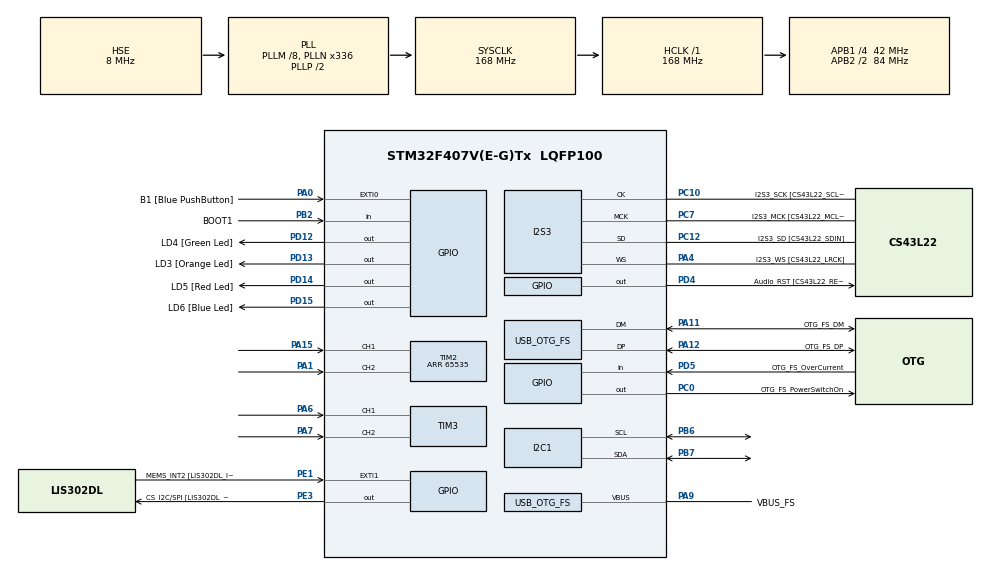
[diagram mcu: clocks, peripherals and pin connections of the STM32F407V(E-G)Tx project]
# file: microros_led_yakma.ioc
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FREERTOS.Tasks01=defaultTask,24,3000,StartDefaultTask,Default,NULL,Dynamic,NULL,NULL
I2S3.AudioFreq-Half_Duplex_Master=I2S_AUDIOFREQ_96K
I2S3.ErrorAudioFreq=-2.34 %
I2S3.ErrorAudioFreq-Half_Duplex_Master=0.8 %
I2S3.FullDuplexMode=I2S_FULLDUPLEXMODE_DISABLE
I2S3.Instance=SPI$Index
I2S3.RealAudioFreq=93.75 KHz
I2S3.RealAudioFreq-Half_Duplex_Master=96.774 KHz
I2S3.VirtualMode=I2S_MODE_MASTER
Mcu.Family=STM32F4
Mcu.Name=STM32F407V(E-G)Tx
Mcu.Package=LQFP100
NVIC.OTG_FS_IRQn=true\:5\:0\:false\:false\:true\:true\:true\:true\:true
NVIC.PriorityGroup=NVIC_PRIORITYGROUP_4
PA0-WKUP.GPIO_Label=B1 [Blue PushButton]
PA0-WKUP.GPIO_ModeDefaultEXTI=GPIO_MODE_EVT_RISING
PA0-WKUP.GPIO_PuPd=GPIO_PULLUP
PA0-WKUP.Signal=GPXTI0
PA1.GPIO_PuPd=GPIO_PULLUP
PA1.Signal=S_TIM2_CH2
PA10.GPIO_Label=OTG_FS_ID
PA10.GPIO_Mode=GPIO_MODE_AF_PP
PA10.GPIO_PuPd=GPIO_NOPULL
PA10.GPIO_Speed=GPIO_SPEED_FREQ_LOW
PA10.Signal=USB_OTG_FS_ID
PA11.GPIO_Label=OTG_FS_DM
PA11.GPIO_Mode=GPIO_MODE_AF_PP
PA11.GPIO_PuPd=GPIO_NOPULL
PA11.GPIO_Speed=GPIO_SPEED_FREQ_LOW
PA11.Mode=Device_Only
PA11.Signal=USB_OTG_FS_DM
PA12.GPIO_Label=OTG_FS_DP
PA12.GPIO_Mode=GPIO_MODE_AF_PP
PA12.GPIO_PuPd=GPIO_NOPULL
PA12.GPIO_Speed=GPIO_SPEED_FREQ_LOW
PA12.Mode=Device_Only
PA12.Signal=USB_OTG_FS_DP
PA13.GPIO_Label=SWDIO
PA13.Mode=Serial_Wire
PA13.Signal=SYS_JTMS-SWDIO
PA14.GPIO_Label=SWCLK
PA14.Mode=Serial_Wire
PA14.Signal=SYS_JTCK-SWCLK
PA15.GPIO_PuPd=GPIO_PULLUP
PA15.Signal=S_TIM2_CH1_ETR
PA4.GPIO_Label=I2S3_WS [CS43L22_LRCK]
PA4.GPIO_Mode=GPIO_MODE_AF_PP
PA4.GPIO_PuPd=GPIO_NOPULL
PA4.GPIO_Speed=GPIO_SPEED_FREQ_LOW
PA4.Mode=Half_Duplex_Master
PA4.Signal=I2S3_WS
PA5.GPIO_Label=SPI1_SCK [LIS302DL_SCL/SPC]
PA5.GPIO_Mode=GPIO_MODE_AF_PP
PA5.GPIO_PuPd=GPIO_NOPULL
PA5.GPIO_Speed=GPIO_SPEED_FREQ_LOW
PA5.Signal=SPI1_SCK
PA6.GPIO_PuPd=GPIO_PULLUP
PA6.Signal=S_TIM3_CH1
PA7.GPIO_PuPd=GPIO_PULLUP
PA7.Signal=S_TIM3_CH2
PA9.GPIO_Label=VBUS_FS
PA9.GPIO_Mode=GPIO_MODE_INPUT
PA9.GPIO_PuPd=GPIO_NOPULL
PA9.Mode=Activate_VBUS
PA9.Signal=USB_OTG_FS_VBUS
PB10.GPIO_Label=CLK_IN [MP45DT02_CLK]
PB10.GPIO_Mode=GPIO_MODE_AF_PP
PB10.GPIO_PuPd=GPIO_NOPULL
PB10.GPIO_Speed=GPIO_SPEED_FREQ_LOW
PB10.Signal=I2S2_CK
PB2.GPIO_Label=BOOT1
PB2.GPIO_Mode=GPIO_MODE_INPUT
PB2.GPIO_PuPd=GPIO_NOPULL
PB2.Signal=GPIO_Input
PB3.GPIO_Label=SWO
PB3.Signal=SYS_JTDO-SWO
PB6.Mode=I2C
PB6.Signal=I2C1_SCL
PB7.Mode=I2C
PB7.Signal=I2C1_SDA
PC0.GPIO_Label=OTG_FS_PowerSwitchOn
PC0.GPIO_PuPd=GPIO_NOPULL
PC0.GPIO_Speed=GPIO_SPEED_FREQ_LOW
PC0.PinState=GPIO_PIN_SET
PC0.Signal=GPIO_Output
PC10.GPIO_Label=I2S3_SCK [CS43L22_SCLK]
PC10.GPIO_Mode=GPIO_MODE_AF_PP
PC10.GPIO_PuPd=GPIO_NOPULL
PC10.GPIO_Speed=GPIO_SPEED_FREQ_LOW
PC10.Mode=Half_Duplex_Master
PC10.Signal=I2S3_CK
PC12.GPIO_Label=I2S3_SD [CS43L22_SDIN]
PC12.GPIO_Mode=GPIO_MODE_AF_PP
PC12.GPIO_PuPd=GPIO_NOPULL
PC12.GPIO_Speed=GPIO_SPEED_FREQ_LOW
PC12.Mode=Half_Duplex_Master
PC12.Signal=I2S3_SD
PC14-OSC32_IN.GPIO_Label=PC14-OSC32_IN
PC14-OSC32_IN.Mode=LSE-External-Oscillator
PC14-OSC32_IN.Signal=RCC_OSC32_IN
PC15-OSC32_OUT.GPIO_Label=PC15-OSC32_OUT
PC15-OSC32_OUT.Mode=LSE-External-Oscillator
PC15-OSC32_OUT.Signal=RCC_OSC32_OUT
PC3.GPIO_Label=PDM_OUT [MP45DT02_DOUT]
PC3.GPIO_Mode=GPIO_MODE_AF_PP
PC3.GPIO_PuPd=GPIO_NOPULL
PC3.GPIO_Speed=GPIO_SPEED_FREQ_LOW
PC3.Signal=I2S2_SD
PC7.GPIO_Label=I2S3_MCK [CS43L22_MCLK]
PC7.GPIO_Mode=GPIO_MODE_AF_PP
PC7.GPIO_PuPd=GPIO_NOPULL
PC7.GPIO_Speed=GPIO_SPEED_FREQ_LOW
PC7.Mode=Master_Clock_Activated
PC7.Signal=I2S3_MCK
PD12.GPIO_Label=LD4 [Green Led]
PD12.GPIO_PuPd=GPIO_NOPULL
PD12.GPIO_Speed=GPIO_SPEED_FREQ_LOW
PD12.Signal=GPIO_Output
PD13.GPIO_Label=LD3 [Orange Led]
PD13.GPIO_PuPd=GPIO_NOPULL
PD13.GPIO_Speed=GPIO_SPEED_FREQ_LOW
PD13.Signal=GPIO_Output
PD14.GPIO_Label=LD5 [Red Led]
PD14.GPIO_PuPd=GPIO_NOPULL
PD14.GPIO_Speed=GPIO_SPEED_FREQ_LOW
PD14.Signal=GPIO_Output
PD15.GPIO_Label=LD6 [Blue Led]
PD15.GPIO_PuPd=GPIO_NOPULL
PD15.GPIO_Speed=GPIO_SPEED_FREQ_LOW
PD15.Signal=GPIO_Output
PD4.GPIO_Label=Audio_RST [CS43L22_RESET]
PD4.GPIO_PuPd=GPIO_NOPULL
PD4.GPIO_Speed=GPIO_SPEED_FREQ_LOW
PD4.Signal=GPIO_Output
PD5.GPIO_Label=OTG_FS_OverCurrent
PD5.GPIO_Mode=GPIO_MODE_INPUT
PD5.GPIO_PuPd=GPIO_NOPULL
PD5.Signal=GPIO_Input
PE1.GPIO_Label=MEMS_INT2 [LIS302DL_INT2]
PE1.GPIO_ModeDefaultEXTI=GPIO_MODE_EVT_RISING
PE1.GPIO_PuPd=GPIO_NOPULL
PE1.Signal=GPXTI1
PE3.GPIO_Label=CS_I2C/SPI [LIS302DL_CS_I2C/SPI]
PE3.GPIO_PuPd=GPIO_NOPULL
PE3.GPIO_Speed=GPIO_SPEED_FREQ_LOW
PE3.Signal=GPIO_Output
PH0-OSC_IN.GPIO_Label=PH0-OSC_IN
PH0-OSC_IN.Mode=HSE-External-Oscillator
PH0-OSC_IN.Signal=RCC_OSC_IN
PH1-OSC_OUT.GPIO_Label=PH1-OSC_OUT
PH1-OSC_OUT.Mode=HSE-External-Oscillator
PH1-OSC_OUT.Signal=RCC_OSC_OUT
ProjectManager.HeapSize=0x3000
ProjectManager.StackSize=0x3000
ProjectManager.TargetToolchain=STM32CubeIDE
RCC.48MHZClocksFreq_Value=48000000
RCC.AHBFreq_Value=168000000
RCC.APB1CLKDivider=RCC_HCLK_DIV4
RCC.APB1Freq_Value=42000000
RCC.APB1TimFreq_Value=84000000
RCC.APB2CLKDivider=RCC_HCLK_DIV2
RCC.APB2Freq_Value=84000000
RCC.APB2TimFreq_Value=168000000
RCC.CortexFreq_Value=168000000
RCC.HCLKFreq_Value=168000000
RCC.HSE_VALUE=8000000
RCC.HSI_VALUE=16000000
RCC.PLLM=8
RCC.PLLN=336
RCC.PLLQ=7
RCC.SYSCLKFreq_VALUE=168000000
RCC.SYSCLKSource=RCC_SYSCLKSOURCE_PLLCLK
RCC.VCOOutputFreq_Value=336000000
SH.S_TIM2_CH1_ETR.0=TIM2_CH1,Encoder_Interface
SH.S_TIM2_CH2.0=TIM2_CH2,Encoder_Interface
SH.S_TIM3_CH1.0=TIM3_CH1,Encoder_Interface
SH.S_TIM3_CH2.0=TIM3_CH2,Encoder_Interface
TIM2.EncoderMode=TIM_ENCODERMODE_TI12
TIM2.Period=65535
USB_DEVICE.CLASS_NAME_FS=CDC
USB_DEVICE.VirtualMode-CDC_FS=Cdc
USB_DEVICE.VirtualModeFS=Cdc_FS
USB_OTG_FS.VirtualMode=Device_Only
VP_FREERTOS_VS_CMSIS_V2.Mode=CMSIS_V2
VP_USB_DEVICE_VS_USB_DEVICE_CDC_FS.Mode=CDC_FS
board=STM32F407G-DISC1

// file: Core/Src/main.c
/* USER CODE BEGIN Header */
/**
  ******************************************************************************
  * @file           : main.c
  * @brief          : Main program body
  ******************************************************************************
  * @attention
  *
  * Copyright (c) 2025 STMicroelectronics.
  * All rights reserved.
  *
  * This software is licensed under terms that can be found in the LICENSE file
  * in the root directory of this software component.
  * If no LICENSE file comes with this software, it is provided AS-IS.
  *
  ******************************************************************************
  */
/* USER CODE END Header */
#include "main.h"
#include "cmsis_os.h"
#include "usb_device.h"

/* USER CODE BEGIN Includes */
#include <math.h>
#include <rcl/rcl.h>
#include <rcl/error_handling.h>
#include <rclc/rclc.h>
#include <rclc/executor.h>
#include <uxr/client/transport.h>
#include <rmw_microxrcedds_c/config.h>
#include <rmw_microros/rmw_microros.h>

// ROS 2 Mesajları
#include <std_msgs/msg/float32.h>
#include <sensor_msgs/msg/imu.h>
#include <geometry_msgs/msg/quaternion.h>
#include <nav_msgs/msg/odometry.h>

// --- AYARLAR ---
#define WHEEL_RADIUS 0.033f  // 3.3 cm
#define WHEEL_BASE   0.20f   // 20 cm
#define PPR_LEFT     80.0f   // KY-040 (20x4)
#define PPR_RIGHT    1600.0f // E38S6G5 (400x4)
#define BNO055_ADDR  (0x28 << 1)
/* USER CODE END Includes */

I2C_HandleTypeDef hi2c1;

I2S_HandleTypeDef hi2s3;

TIM_HandleTypeDef htim2;
TIM_HandleTypeDef htim3;

/* Definitions for defaultTask */
osThreadId_t defaultTaskHandle;
const osThreadAttr_t defaultTask_attributes = {
  .name = "defaultTask",
  .stack_size = 3000 * 4,
  .priority = (osPriority_t) osPriorityNormal,
};
/* USER CODE BEGIN PV */
// --- DONANIM HANDLERLARI ---
extern I2C_HandleTypeDef hi2c1;
extern TIM_HandleTypeDef htim2; // Sol Enkoder (32-bit)
extern TIM_HandleTypeDef htim3; // Sağ Enkoder (16-bit) - PWM DEĞİL ARTIK!

// --- MICRO-ROS NESNELERİ ---
rcl_publisher_t imu_pub;
rcl_publisher_t heading_pub;
rcl_publisher_t odom_pub;
rcl_publisher_t speed_pub; // Debug için

sensor_msgs__msg__Imu imu_msg;
geometry_msgs__msg__Quaternion heading_msg;
nav_msgs__msg__Odometry odom_msg;
std_msgs__msg__Float32 speed_msg;

rclc_support_t support;
rcl_allocator_t allocator;
rcl_node_t node;

// --- ROBOT DURUMU (ODOMETRİ) ---
float robot_x = 0.0f;
float robot_y = 0.0f;

// Enkoder Takip
uint32_t prev_enc_L = 0;
uint32_t prev_enc_R = 0;
/* USER CODE END PV */
void SystemClock_Config(void);
static void MX_GPIO_Init(void);
static void MX_I2C1_Init(void);
static void MX_I2S3_Init(void);
static void MX_TIM2_Init(void);
static void MX_TIM3_Init(void);
void StartDefaultTask(void *argument);

/* USER CODE BEGIN 0 */
// BNO055'i NDOF (Füzyon) Moduna Alma
void BNO055_Init_NDOF() {
    uint8_t cmd[2];
    // Config Moduna Geç
    cmd[0] = 0x3D; cmd[1] = 0x00;
    HAL_I2C_Master_Transmit(&hi2c1, BNO055_ADDR, cmd, 2, 100);
    HAL_Delay(30);

    // NDOF Modunu Seç (Sensör içi füzyon)
    cmd[0] = 0x3D; cmd[1] = 0x0C;
    HAL_I2C_Master_Transmit(&hi2c1, BNO055_ADDR, cmd, 2, 100);
    HAL_Delay(30);
}

// Quaternion Verisini Okuma
void BNO055_ReadQuaternion(float* q) {
    uint8_t reg = 0x20; // Quaternion Data Başlangıç Register'ı
    uint8_t data[8];

    HAL_I2C_Master_Transmit(&hi2c1, BNO055_ADDR, &reg, 1, 100);
    HAL_I2C_Master_Receive(&hi2c1, BNO055_ADDR, data, 8, 100);

    int16_t w = (data[1] << 8) | data[0];
    int16_t x = (data[3] << 8) | data[2];
    int16_t y = (data[5] << 8) | data[4];
    int16_t z = (data[7] << 8) | data[6];

    // 1 Quaternion = 2^14 LSB (Datasheet bilgisi)
    const float scale = 1.0f / 16384.0f;
    q[0] = w * scale;
    q[1] = x * scale;
    q[2] = y * scale;
    q[3] = z * scale;
}

// Quaternion'dan Yaw (Z ekseni açısı) Hesaplama
float GetYaw(float w, float x, float y, float z) {
    return atan2f(2.0f * (w * z + x * y), 1.0f - 2.0f * (y * y + z * z));
}
/* USER CODE END 0 */

int main(void)
{

  /* MCU Configuration--------------------------------------------------------*/

  /* Reset of all peripherals, Initializes the Flash interface and the Systick. */
  HAL_Init();

  /* Configure the system clock */
  SystemClock_Config();

  /* Initialize all configured peripherals */
  MX_GPIO_Init();
  MX_I2C1_Init();
  MX_I2S3_Init();
  MX_TIM2_Init();
  MX_TIM3_Init();

  /* Init scheduler */
  osKernelInitialize();

  /* Create the thread(s) */
  /* creation of defaultTask */
  defaultTaskHandle = osThreadNew(StartDefaultTask, NULL, &defaultTask_attributes);

  /* Start scheduler */
  osKernelStart();

  /* We should never get here as control is now taken by the scheduler */
  /* Infinite loop */
  while (1)
  {

  }
}

void SystemClock_Config(void)
{
  RCC_OscInitTypeDef RCC_OscInitStruct = {0};
  RCC_ClkInitTypeDef RCC_ClkInitStruct = {0};

  /** Configure the main internal regulator output voltage
  */
  __HAL_RCC_PWR_CLK_ENABLE();
  __HAL_PWR_VOLTAGESCALING_CONFIG(PWR_REGULATOR_VOLTAGE_SCALE1);

  /** Initializes the RCC Oscillators according to the specified parameters
  * in the RCC_OscInitTypeDef structure.
  */
  RCC_OscInitStruct.OscillatorType = RCC_OSCILLATORTYPE_HSE;
  RCC_OscInitStruct.HSEState = RCC_HSE_ON;
  RCC_OscInitStruct.PLL.PLLState = RCC_PLL_ON;
  RCC_OscInitStruct.PLL.PLLSource = RCC_PLLSOURCE_HSE;
  RCC_OscInitStruct.PLL.PLLM = 8;
  RCC_OscInitStruct.PLL.PLLN = 336;
  RCC_OscInitStruct.PLL.PLLP = RCC_PLLP_DIV2;
  RCC_OscInitStruct.PLL.PLLQ = 7;
  if (HAL_RCC_OscConfig(&RCC_OscInitStruct) != HAL_OK)
  {
    Error_Handler();
  }

  /** Initializes the CPU, AHB and APB buses clocks
  */
  RCC_ClkInitStruct.ClockType = RCC_CLOCKTYPE_HCLK|RCC_CLOCKTYPE_SYSCLK
                              |RCC_CLOCKTYPE_PCLK1|RCC_CLOCKTYPE_PCLK2;
  RCC_ClkInitStruct.SYSCLKSource = RCC_SYSCLKSOURCE_PLLCLK;
  RCC_ClkInitStruct.AHBCLKDivider = RCC_SYSCLK_DIV1;
  RCC_ClkInitStruct.APB1CLKDivider = RCC_HCLK_DIV4;
  RCC_ClkInitStruct.APB2CLKDivider = RCC_HCLK_DIV2;

  if (HAL_RCC_ClockConfig(&RCC_ClkInitStruct, FLASH_LATENCY_5) != HAL_OK)
  {
    Error_Handler();
  }
}

static void MX_I2C1_Init(void)
{

  hi2c1.Instance = I2C1;
  hi2c1.Init.ClockSpeed = 100000;
  hi2c1.Init.DutyCycle = I2C_DUTYCYCLE_2;
  hi2c1.Init.OwnAddress1 = 0;
  hi2c1.Init.AddressingMode = I2C_ADDRESSINGMODE_7BIT;
  hi2c1.Init.DualAddressMode = I2C_DUALADDRESS_DISABLE;
  hi2c1.Init.OwnAddress2 = 0;
  hi2c1.Init.GeneralCallMode = I2C_GENERALCALL_DISABLE;
  hi2c1.Init.NoStretchMode = I2C_NOSTRETCH_DISABLE;
  if (HAL_I2C_Init(&hi2c1) != HAL_OK)
  {
    Error_Handler();
  }

}

static void MX_I2S3_Init(void)
{

  hi2s3.Instance = SPI3;
  hi2s3.Init.Mode = I2S_MODE_MASTER_TX;
  hi2s3.Init.Standard = I2S_STANDARD_PHILIPS;
  hi2s3.Init.DataFormat = I2S_DATAFORMAT_16B;
  hi2s3.Init.MCLKOutput = I2S_MCLKOUTPUT_ENABLE;
  hi2s3.Init.AudioFreq = I2S_AUDIOFREQ_96K;
  hi2s3.Init.CPOL = I2S_CPOL_LOW;
  hi2s3.Init.ClockSource = I2S_CLOCK_PLL;
  hi2s3.Init.FullDuplexMode = I2S_FULLDUPLEXMODE_DISABLE;
  if (HAL_I2S_Init(&hi2s3) != HAL_OK)
  {
    Error_Handler();
  }

}

static void MX_TIM2_Init(void)
{

  /* USER CODE BEGIN TIM2_Init 0 */
	  /* USER CODE BEGIN TIM2_Init 0 */
	  __HAL_RCC_TIM2_CLK_ENABLE(); // ✅ Clock'u aktifleştir
  /* USER CODE END TIM2_Init 0 */

  TIM_Encoder_InitTypeDef sConfig = {0};
  TIM_MasterConfigTypeDef sMasterConfig = {0};

  htim2.Instance = TIM2;
  htim2.Init.Prescaler = 0;
  htim2.Init.CounterMode = TIM_COUNTERMODE_UP;
  htim2.Init.Period = 65535;
  htim2.Init.ClockDivision = TIM_CLOCKDIVISION_DIV1;
  htim2.Init.AutoReloadPreload = TIM_AUTORELOAD_PRELOAD_DISABLE;
  sConfig.EncoderMode = TIM_ENCODERMODE_TI12;
  sConfig.IC1Polarity = TIM_ICPOLARITY_RISING;
  sConfig.IC1Selection = TIM_ICSELECTION_DIRECTTI;
  sConfig.IC1Prescaler = TIM_ICPSC_DIV1;
  sConfig.IC1Filter = 0;
  sConfig.IC2Polarity = TIM_ICPOLARITY_RISING;
  sConfig.IC2Selection = TIM_ICSELECTION_DIRECTTI;
  sConfig.IC2Prescaler = TIM_ICPSC_DIV1;
  sConfig.IC2Filter = 0;
  if (HAL_TIM_Encoder_Init(&htim2, &sConfig) != HAL_OK)
  {
    Error_Handler();
  }
  sMasterConfig.MasterOutputTrigger = TIM_TRGO_RESET;
  sMasterConfig.MasterSlaveMode = TIM_MASTERSLAVEMODE_DISABLE;
  if (HAL_TIMEx_MasterConfigSynchronization(&htim2, &sMasterConfig) != HAL_OK)
  {
    Error_Handler();
  }

}

static void MX_TIM3_Init(void)
{

  TIM_Encoder_InitTypeDef sConfig = {0};
  TIM_MasterConfigTypeDef sMasterConfig = {0};

  htim3.Instance = TIM3;
  htim3.Init.Prescaler = 0;
  htim3.Init.CounterMode = TIM_COUNTERMODE_UP;
  htim3.Init.Period = 65535;
  htim3.Init.ClockDivision = TIM_CLOCKDIVISION_DIV1;
  htim3.Init.AutoReloadPreload = TIM_AUTORELOAD_PRELOAD_DISABLE;
  sConfig.EncoderMode = TIM_ENCODERMODE_TI1;
  sConfig.IC1Polarity = TIM_ICPOLARITY_RISING;
  sConfig.IC1Selection = TIM_ICSELECTION_DIRECTTI;
  sConfig.IC1Prescaler = TIM_ICPSC_DIV1;
  sConfig.IC1Filter = 0;
  sConfig.IC2Polarity = TIM_ICPOLARITY_RISING;
  sConfig.IC2Selection = TIM_ICSELECTION_DIRECTTI;
  sConfig.IC2Prescaler = TIM_ICPSC_DIV1;
  sConfig.IC2Filter = 0;
  if (HAL_TIM_Encoder_Init(&htim3, &sConfig) != HAL_OK)
  {
    Error_Handler();
  }
  sMasterConfig.MasterOutputTrigger = TIM_TRGO_RESET;
  sMasterConfig.MasterSlaveMode = TIM_MASTERSLAVEMODE_DISABLE;
  if (HAL_TIMEx_MasterConfigSynchronization(&htim3, &sMasterConfig) != HAL_OK)
  {
    Error_Handler();
  }

}

static void MX_GPIO_Init(void)
{
  GPIO_InitTypeDef GPIO_InitStruct = {0};

  /* GPIO Ports Clock Enable */
  __HAL_RCC_GPIOE_CLK_ENABLE();
  __HAL_RCC_GPIOC_CLK_ENABLE();
  __HAL_RCC_GPIOH_CLK_ENABLE();
  __HAL_RCC_GPIOA_CLK_ENABLE();
  __HAL_RCC_GPIOB_CLK_ENABLE();
  __HAL_RCC_GPIOD_CLK_ENABLE();

  /*Configure GPIO pin Output Level */
  HAL_GPIO_WritePin(CS_I2C_SPI_GPIO_Port, CS_I2C_SPI_Pin, GPIO_PIN_RESET);

  /*Configure GPIO pin Output Level */
  HAL_GPIO_WritePin(OTG_FS_PowerSwitchOn_GPIO_Port, OTG_FS_PowerSwitchOn_Pin, GPIO_PIN_SET);

  /*Configure GPIO pin Output Level */
  HAL_GPIO_WritePin(GPIOD, LD4_Pin|LD3_Pin|LD5_Pin|LD6_Pin
                          |Audio_RST_Pin, GPIO_PIN_RESET);

  /*Configure GPIO pin : CS_I2C_SPI_Pin */
  GPIO_InitStruct.Pin = CS_I2C_SPI_Pin;
  GPIO_InitStruct.Mode = GPIO_MODE_OUTPUT_PP;
  GPIO_InitStruct.Pull = GPIO_NOPULL;
  GPIO_InitStruct.Speed = GPIO_SPEED_FREQ_LOW;
  HAL_GPIO_Init(CS_I2C_SPI_GPIO_Port, &GPIO_InitStruct);

  /*Configure GPIO pin : OTG_FS_PowerSwitchOn_Pin */
  GPIO_InitStruct.Pin = OTG_FS_PowerSwitchOn_Pin;
  GPIO_InitStruct.Mode = GPIO_MODE_OUTPUT_PP;
  GPIO_InitStruct.Pull = GPIO_NOPULL;
  GPIO_InitStruct.Speed = GPIO_SPEED_FREQ_LOW;
  HAL_GPIO_Init(OTG_FS_PowerSwitchOn_GPIO_Port, &GPIO_InitStruct);

  /*Configure GPIO pin : PDM_OUT_Pin */
  GPIO_InitStruct.Pin = PDM_OUT_Pin;
  GPIO_InitStruct.Mode = GPIO_MODE_AF_PP;
  GPIO_InitStruct.Pull = GPIO_NOPULL;
  GPIO_InitStruct.Speed = GPIO_SPEED_FREQ_LOW;
  GPIO_InitStruct.Alternate = GPIO_AF5_SPI2;
  HAL_GPIO_Init(PDM_OUT_GPIO_Port, &GPIO_InitStruct);

  /*Configure GPIO pin : B1_Pin */
  GPIO_InitStruct.Pin = B1_Pin;
  GPIO_InitStruct.Mode = GPIO_MODE_EVT_RISING;
  GPIO_InitStruct.Pull = GPIO_PULLUP;
  HAL_GPIO_Init(B1_GPIO_Port, &GPIO_InitStruct);

  /*Configure GPIO pin : SPI1_SCK_Pin */
  GPIO_InitStruct.Pin = SPI1_SCK_Pin;
  GPIO_InitStruct.Mode = GPIO_MODE_AF_PP;
  GPIO_InitStruct.Pull = GPIO_NOPULL;
  GPIO_InitStruct.Speed = GPIO_SPEED_FREQ_LOW;
  GPIO_InitStruct.Alternate = GPIO_AF5_SPI1;
  HAL_GPIO_Init(SPI1_SCK_GPIO_Port, &GPIO_InitStruct);

  /*Configure GPIO pin : BOOT1_Pin */
  GPIO_InitStruct.Pin = BOOT1_Pin;
  GPIO_InitStruct.Mode = GPIO_MODE_INPUT;
  GPIO_InitStruct.Pull = GPIO_NOPULL;
  HAL_GPIO_Init(BOOT1_GPIO_Port, &GPIO_InitStruct);

  /*Configure GPIO pin : CLK_IN_Pin */
  GPIO_InitStruct.Pin = CLK_IN_Pin;
  GPIO_InitStruct.Mode = GPIO_MODE_AF_PP;
  GPIO_InitStruct.Pull = GPIO_NOPULL;
  GPIO_InitStruct.Speed = GPIO_SPEED_FREQ_LOW;
  GPIO_InitStruct.Alternate = GPIO_AF5_SPI2;
  HAL_GPIO_Init(CLK_IN_GPIO_Port, &GPIO_InitStruct);

  /*Configure GPIO pins : LD4_Pin LD3_Pin LD5_Pin LD6_Pin
                           Audio_RST_Pin */
  GPIO_InitStruct.Pin = LD4_Pin|LD3_Pin|LD5_Pin|LD6_Pin
                          |Audio_RST_Pin;
  GPIO_InitStruct.Mode = GPIO_MODE_OUTPUT_PP;
  GPIO_InitStruct.Pull = GPIO_NOPULL;
  GPIO_InitStruct.Speed = GPIO_SPEED_FREQ_LOW;
  HAL_GPIO_Init(GPIOD, &GPIO_InitStruct);

  /*Configure GPIO pin : OTG_FS_OverCurrent_Pin */
  GPIO_InitStruct.Pin = OTG_FS_OverCurrent_Pin;
  GPIO_InitStruct.Mode = GPIO_MODE_INPUT;
  GPIO_InitStruct.Pull = GPIO_NOPULL;
  HAL_GPIO_Init(OTG_FS_OverCurrent_GPIO_Port, &GPIO_InitStruct);

  /*Configure GPIO pin : MEMS_INT2_Pin */
  GPIO_InitStruct.Pin = MEMS_INT2_Pin;
  GPIO_InitStruct.Mode = GPIO_MODE_EVT_RISING;
  GPIO_InitStruct.Pull = GPIO_NOPULL;
  HAL_GPIO_Init(MEMS_INT2_GPIO_Port, &GPIO_InitStruct);

}

/* USER CODE BEGIN 4 */
bool cubemx_transport_open(struct uxrCustomTransport * transport);
bool cubemx_transport_close(struct uxrCustomTransport * transport);
size_t cubemx_transport_write(struct uxrCustomTransport* transport, const uint8_t * buf, size_t len, uint8_t * err);
size_t cubemx_transport_read(struct uxrCustomTransport* transport, uint8_t* buf, size_t len, int timeout, uint8_t* err);

void * microros_allocate(size_t size, void * state);
void microros_deallocate(void * pointer, void * state);
void * microros_reallocate(void * pointer, size_t size, void * state);
void * microros_zero_allocate(size_t number_of_elements, size_t size_of_element, void * state);
/* USER CODE END 4 */

void StartDefaultTask(void *argument)
{
  /* init code for USB_DEVICE */
  MX_USB_DEVICE_Init();

  /* USER CODE BEGIN 5 */

  // 1. Transport Ayarı
  rmw_uros_set_custom_transport(
    true, NULL,
    cubemx_transport_open, cubemx_transport_close,
    cubemx_transport_write, cubemx_transport_read);

  rcl_allocator_t freeRTOS_allocator = rcutils_get_zero_initialized_allocator();
  freeRTOS_allocator.allocate = microros_allocate;
  freeRTOS_allocator.deallocate = microros_deallocate;
  freeRTOS_allocator.reallocate = microros_reallocate;
  freeRTOS_allocator.zero_allocate = microros_zero_allocate;

  if (!rcutils_set_default_allocator(&freeRTOS_allocator)) {
      printf("Allocator Hatasi!\n");
  }

  // Ajanı Bekle
  while(rmw_uros_ping_agent(100, 1) != RMW_RET_OK) { osDelay(100); }

  // 2. Micro-ROS Başlat
  allocator = rcl_get_default_allocator();
  rclc_support_init(&support, 0, NULL, &allocator);
  rclc_node_init_default(&node, "stm32_fusion_node", "", &support);

  // --- PUBLISHER TANIMLARI ---
  // A) IMU Verisi
  rclc_publisher_init_default(&imu_pub, &node, ROSIDL_GET_MSG_TYPE_SUPPORT(sensor_msgs, msg, Imu), "raw_imu");
  // B) Heading (Yönelim)
  rclc_publisher_init_default(&heading_pub, &node, ROSIDL_GET_MSG_TYPE_SUPPORT(geometry_msgs, msg, Quaternion), "fused_heading");
  // C) Robot State (Odometri)
  rclc_publisher_init_default(&odom_pub, &node, ROSIDL_GET_MSG_TYPE_SUPPORT(nav_msgs, msg, Odometry), "robot_state");
  // D) Debug Hız
  rclc_publisher_init_default(&speed_pub, &node, ROSIDL_GET_MSG_TYPE_SUPPORT(std_msgs, msg, Float32), "wheel_speed");

  // String alanları için statik bufferlar tanımla
  static char imu_frame[] = "imu_link";
  static char odom_frame[] = "odom";
  static char base_frame[] = "base_link";

  // IMU mesajı için frame_id
  imu_msg.header.frame_id.data = imu_frame;
  imu_msg.header.frame_id.size = strlen(imu_frame);
  imu_msg.header.frame_id.capacity = strlen(imu_frame) + 1;

  // Odometry mesajı için frame_id'ler
  odom_msg.header.frame_id.data = odom_frame;
  odom_msg.header.frame_id.size = strlen(odom_frame);
  odom_msg.header.frame_id.capacity = strlen(odom_frame) + 1;

  odom_msg.child_frame_id.data = base_frame;
  odom_msg.child_frame_id.size = strlen(base_frame);
  odom_msg.child_frame_id.capacity = strlen(base_frame) + 1;

  // --- 3. DONANIMI BAŞLAT ---
  BNO055_Init_NDOF(); // IMU Başlat

  // Enkoderleri Başlat (PWM YOK! Sadece Encoder Mode)
  HAL_TIM_Encoder_Start(&htim2, TIM_CHANNEL_ALL); // Sol (KY-040)
  HAL_TIM_Encoder_Start(&htim3, TIM_CHANNEL_ALL); // Sağ (E38S6G5)

  // Sayaçları Ortala (Taşma yönetimi için)
  __HAL_TIM_SET_COUNTER(&htim2, 2000000000); // TIM2 (32-bit)
  prev_enc_L = 2000000000;

  __HAL_TIM_SET_COUNTER(&htim3, 30000);      // TIM3 (16-bit)
  prev_enc_R = 30000;

  float q[4]; // Quaternion [w, x, y, z]
  uint32_t last_time = HAL_GetTick();

  // --- SONSUZ DÖNGÜ ---
  for(;;)
  {
    uint32_t now = HAL_GetTick();
    float dt = (now - last_time) / 1000.0f;
    if (dt < 0.01f) { osDelay(1); continue; }
    last_time = now;

    // --- 1. ENKODER OKUMA ---
    uint32_t curr_L = __HAL_TIM_GET_COUNTER(&htim2);
    uint32_t curr_R = __HAL_TIM_GET_COUNTER(&htim3);

    // Sol (32-bit): Direkt fark
    int32_t diff_L = (int32_t)(curr_L - prev_enc_L);

    // Sağ (16-bit): Taşmayı yönetmek için önce 16-bite cast et
    int16_t diff_R_16 = (int16_t)(curr_R - prev_enc_R);
    int32_t diff_R = (int32_t)diff_R_16;

    prev_enc_L = curr_L;
    prev_enc_R = curr_R;

    // --- 2. KİNEMATİK (HIZ HESABI) ---
    // Her tekerleğin gittiği mesafe (metre)
    float dist_L = (diff_L / PPR_LEFT) * (2 * M_PI * WHEEL_RADIUS);
    float dist_R = (diff_R / PPR_RIGHT) * (2 * M_PI * WHEEL_RADIUS);

    // Ortalama Lineer Hız
    float v = (dist_L + dist_R) / 2.0f / dt;

    // Hızı yayınla (Debug)
    speed_msg.data = v;
    rcl_publish(&speed_pub, &speed_msg, NULL);

    // --- 3. IMU VE FÜZYON ---
    BNO055_ReadQuaternion(q);
    float yaw = GetYaw(q[0], q[1], q[2], q[3]);

    // Odometri Güncelle: Konum = Eski + (Hız * Yön)
    robot_x += v * dt * cosf(yaw);
    robot_y += v * dt * sinf(yaw);

    // --- 4. YAYINLAMA ---

    // A) raw_imu
    imu_msg.header.stamp.sec = now / 1000;
    imu_msg.header.stamp.nanosec = (now % 1000) * 1000000;
    imu_msg.orientation.w = q[0];
    imu_msg.orientation.x = q[1];
    imu_msg.orientation.y = q[2];
    imu_msg.orientation.z = q[3];

    rcl_ret_t ret1 = rcl_publish(&imu_pub, &imu_msg, NULL);

    // B) fused_heading
    heading_msg = imu_msg.orientation;
    rcl_ret_t ret2 = rcl_publish(&heading_pub, &heading_msg, NULL);

    // C) robot_state - ÖNEMLİ: Her yayınlamadan önce frame_id'leri yeniden ata
    odom_msg.header.stamp.sec = now / 1000;
    odom_msg.header.stamp.nanosec = (now % 1000) * 1000000;

    // Frame ID'leri tekrar ata (kritik!)
    odom_msg.header.frame_id.data = odom_frame;
    odom_msg.header.frame_id.size = strlen(odom_frame);

    odom_msg.child_frame_id.data = base_frame;
    odom_msg.child_frame_id.size = strlen(base_frame);

    // Pose bilgisi
    odom_msg.pose.pose.position.x = robot_x;
    odom_msg.pose.pose.position.y = robot_y;
    odom_msg.pose.pose.position.z = 0.0;

    odom_msg.pose.pose.orientation.w = q[0];
    odom_msg.pose.pose.orientation.x = q[1];
    odom_msg.pose.pose.orientation.y = q[2];
    odom_msg.pose.pose.orientation.z = q[3];

    // Twist bilgisi
    odom_msg.twist.twist.linear.x = v;
    odom_msg.twist.twist.linear.y = 0.0;
    odom_msg.twist.twist.linear.z = 0.0;
    odom_msg.twist.twist.angular.x = 0.0;
    odom_msg.twist.twist.angular.y = 0.0;
    odom_msg.twist.twist.angular.z = 0.0; // İsterseniz jiroskop verisini ekleyin

    rcl_ret_t ret3 = rcl_publish(&odom_pub, &odom_msg, NULL);

    // Hata kontrolü (debug için)
    if(ret3 != RCL_RET_OK) {
        // LED yakarak veya başka şekilde hata gösterin
        HAL_GPIO_WritePin(GPIOD, LD6_Pin, GPIO_PIN_SET); // Kırmızı LED
    } else {
        HAL_GPIO_WritePin(GPIOD, LD6_Pin, GPIO_PIN_RESET);
    }

    osDelay(10);
  }
  /* USER CODE END 5 */

}

void Error_Handler(void)
{
  __disable_irq();
  while (1)
  {
  }
}
